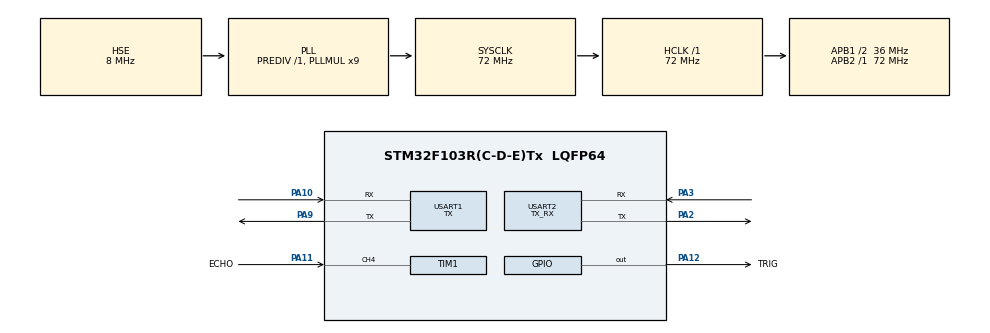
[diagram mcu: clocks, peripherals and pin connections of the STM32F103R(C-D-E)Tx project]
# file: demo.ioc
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Mcu.Family=STM32F1
Mcu.Name=STM32F103R(C-D-E)Tx
Mcu.Package=LQFP64
NVIC.PriorityGroup=NVIC_PRIORITYGROUP_4
NVIC.TIM1_CC_IRQn=true\:0\:0\:false\:false\:true\:true\:true\:true
NVIC.USART1_IRQn=true\:0\:0\:false\:false\:true\:true\:true\:true
PA10.Mode=Asynchronous
PA10.Signal=USART1_RX
PA11.GPIO_Label=ECHO
PA11.Signal=S_TIM1_CH4
PA12.GPIO_Label=TRIG
PA12.Signal=GPIO_Output
PA13.Mode=Serial_Wire
PA13.Signal=SYS_JTMS-SWDIO
PA14.Mode=Serial_Wire
PA14.Signal=SYS_JTCK-SWCLK
PA2.Mode=Asynchronous
PA2.Signal=USART2_TX
PA3.Mode=Asynchronous
PA3.Signal=USART2_RX
PA9.Mode=Asynchronous
PA9.Signal=USART1_TX
PD0-OSC_IN.Mode=HSE-External-Oscillator
PD0-OSC_IN.Signal=RCC_OSC_IN
PD1-OSC_OUT.Mode=HSE-External-Oscillator
PD1-OSC_OUT.Signal=RCC_OSC_OUT
ProjectManager.HeapSize=0x200
ProjectManager.StackSize=0x400
ProjectManager.TargetToolchain=MDK-ARM V5
RCC.AHBFreq_Value=72000000
RCC.APB1CLKDivider=RCC_HCLK_DIV2
RCC.APB1Freq_Value=36000000
RCC.APB1TimFreq_Value=72000000
RCC.APB2Freq_Value=72000000
RCC.APB2TimFreq_Value=72000000
RCC.HCLKFreq_Value=72000000
RCC.PLLMUL=RCC_PLL_MUL9
RCC.PLLSourceVirtual=RCC_PLLSOURCE_HSE
RCC.SYSCLKFreq_VALUE=72000000
RCC.SYSCLKSource=RCC_SYSCLKSOURCE_PLLCLK
RCC.USBFreq_Value=72000000
SH.S_TIM1_CH4.0=TIM1_CH4,Input_Capture4_from_TI4
TIM1.Channel-Input_Capture4_from_TI4=TIM_CHANNEL_4
TIM1.Prescaler=72-1
USART1.Mode=MODE_TX
USART1.VirtualMode=VM_ASYNC
USART2.Mode=MODE_TX_RX
USART2.VirtualMode=VM_ASYNC
board=custom

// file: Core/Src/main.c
/* USER CODE BEGIN Header */
/**
 ******************************************************************************
 * @file           : main.c
 * @brief          : Main program body
 ******************************************************************************
 * @attention
 *
 * <h2><center>&copy; Copyright (c) 2022 STMicroelectronics.
 * All rights reserved.</center></h2>
 *
 * This software component is licensed by ST under BSD 3-Clause license,
 * the "License"; You may not use this file except in compliance with the
 * License. You may obtain a copy of the License at:
 *                        opensource.org/licenses/BSD-3-Clause
 *
 ******************************************************************************
 */
/* USER CODE END Header */
#include "main.h"
#include "gpio.h"
#include "tim.h"
#include "usart.h"

void SystemClock_Config(void);

/* USER CODE BEGIN 0 */

void HAL_Delay_us(uint32_t us) {
    HAL_SYSTICK_Config(HAL_RCC_GetHCLKFreq() / 1000000);
    HAL_Delay(us - 1);
    HAL_SYSTICK_Config(HAL_RCC_GetHCLKFreq() / 1000);
}

#define SUPERSONIC_TIM htim1
#define SUPERSONIC_CH TIM_CHANNEL_4

void SupersonicMeasure() {
    HAL_GPIO_WritePin(TRIG_GPIO_Port, TRIG_Pin, GPIO_PIN_SET);
    HAL_Delay_us(20);
    HAL_GPIO_WritePin(TRIG_GPIO_Port, TRIG_Pin, GPIO_PIN_RESET);

    __HAL_TIM_SET_CAPTUREPOLARITY(&SUPERSONIC_TIM, SUPERSONIC_CH, TIM_INPUTCHANNELPOLARITY_RISING);
    HAL_TIM_IC_Start_IT(&SUPERSONIC_TIM, SUPERSONIC_CH);
}

uint8_t capture_edge = 1;

void HAL_TIM_IC_CaptureCallback(TIM_HandleTypeDef* htim) {
    static uint32_t t_rising = 0, t_falling = 0;

    if (htim->Instance == SUPERSONIC_TIM.Instance) {
        // capture rising edge
        if (capture_edge == 1) {
            t_rising = HAL_TIM_ReadCapturedValue(&SUPERSONIC_TIM, SUPERSONIC_CH);
            __HAL_TIM_SET_CAPTUREPOLARITY(&SUPERSONIC_TIM, SUPERSONIC_CH, TIM_INPUTCHANNELPOLARITY_FALLING);
            HAL_TIM_IC_Start_IT(&SUPERSONIC_TIM, SUPERSONIC_CH);

            capture_edge = 0;
        }
        // capture falling edge
        else if (capture_edge == 0) {
            t_falling = HAL_TIM_ReadCapturedValue(&SUPERSONIC_TIM, SUPERSONIC_CH);
            __HAL_TIM_SET_CAPTUREPOLARITY(&SUPERSONIC_TIM, SUPERSONIC_CH, TIM_INPUTCHANNELPOLARITY_RISING);
            __HAL_TIM_SET_COUNTER(&SUPERSONIC_TIM, 0);  // reset counter
            HAL_TIM_IC_Stop_IT(&SUPERSONIC_TIM, SUPERSONIC_CH);

            uint32_t t_delta  = (t_falling > t_rising) ? 0 : 0xFFFF;
            float    distance = (t_delta + t_falling - t_rising) * .017;  // cm
            printf("%.2f\r\n", distance);

            capture_edge = 1;
        }
    }
}

/* USER CODE END 0 */

int main(void) {

    /* MCU Configuration--------------------------------------------------------*/

    /* Reset of all peripherals, Initializes the Flash interface and the Systick. */
    HAL_Init();

    /* Configure the system clock */
    SystemClock_Config();

    /* Initialize all configured peripherals */
    MX_GPIO_Init();
    MX_USART1_UART_Init();
    MX_USART2_UART_Init();
    MX_TIM1_Init();

    /* Infinite loop */
    /* USER CODE BEGIN WHILE */
    while (1) {
        SupersonicMeasure();
        HAL_Delay(500);
        /* USER CODE END WHILE */

    }
}

void SystemClock_Config(void) {
    RCC_OscInitTypeDef RCC_OscInitStruct = {0};
    RCC_ClkInitTypeDef RCC_ClkInitStruct = {0};

    /** Initializes the RCC Oscillators according to the specified parameters
     * in the RCC_OscInitTypeDef structure.
     */
    RCC_OscInitStruct.OscillatorType = RCC_OSCILLATORTYPE_HSE;
    RCC_OscInitStruct.HSEState       = RCC_HSE_ON;
    RCC_OscInitStruct.HSEPredivValue = RCC_HSE_PREDIV_DIV1;
    RCC_OscInitStruct.HSIState       = RCC_HSI_ON;
    RCC_OscInitStruct.PLL.PLLState   = RCC_PLL_ON;
    RCC_OscInitStruct.PLL.PLLSource  = RCC_PLLSOURCE_HSE;
    RCC_OscInitStruct.PLL.PLLMUL     = RCC_PLL_MUL9;
    if (HAL_RCC_OscConfig(&RCC_OscInitStruct) != HAL_OK) {
        Error_Handler();
    }

    /** Initializes the CPU, AHB and APB buses clocks
     */
    RCC_ClkInitStruct.ClockType      = RCC_CLOCKTYPE_HCLK | RCC_CLOCKTYPE_SYSCLK | RCC_CLOCKTYPE_PCLK1 | RCC_CLOCKTYPE_PCLK2;
    RCC_ClkInitStruct.SYSCLKSource   = RCC_SYSCLKSOURCE_PLLCLK;
    RCC_ClkInitStruct.AHBCLKDivider  = RCC_SYSCLK_DIV1;
    RCC_ClkInitStruct.APB1CLKDivider = RCC_HCLK_DIV2;
    RCC_ClkInitStruct.APB2CLKDivider = RCC_HCLK_DIV1;

    if (HAL_RCC_ClockConfig(&RCC_ClkInitStruct, FLASH_LATENCY_2) != HAL_OK) {
        Error_Handler();
    }
}

void Error_Handler(void) {
}
